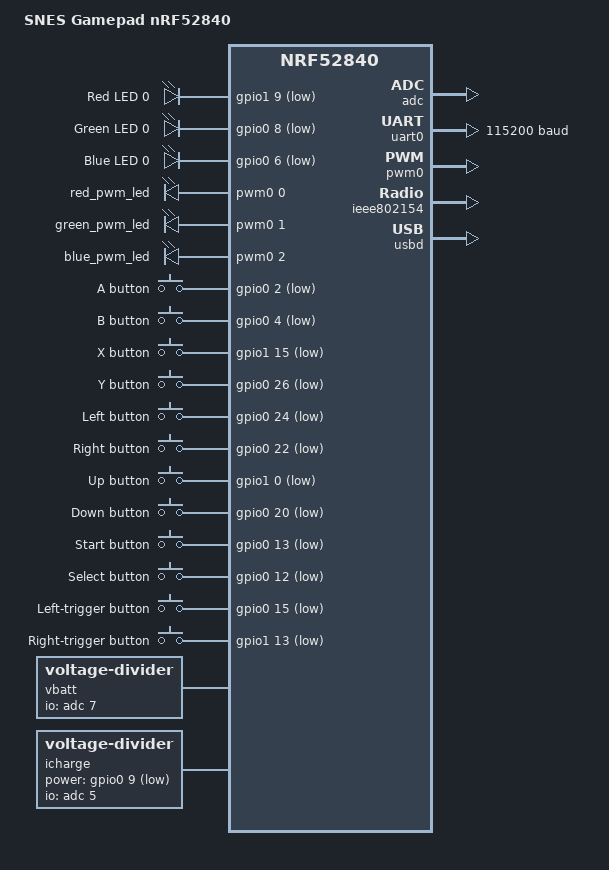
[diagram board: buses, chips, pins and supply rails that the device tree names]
/*
 * Copyright (c) 2022 Nikola Trifunovic
 * Copyright (c) 2018 Nordic Semiconductor ASA
 * Copyright (c) 2017 Linaro Limited
 *
 * SPDX-License-Identifier: Apache-2.0
 */

/dts-v1/;
#include <nordic/nrf52840_qiaa.dtsi>
#include "snes_gamepad_nrf52840-pinctrl.dtsi"
#include <zephyr/dt-bindings/input/input-event-codes.h>

/ {
	model = "SNES Gamepad nRF52840";
	compatible = "snes_gamepad_nrf52840";

	chosen {
		zephyr,console = &uart0;
		zephyr,shell-uart = &uart0;
		zephyr,uart-mcumgr = &uart0;
		zephyr,bt-mon-uart = &uart0;
		zephyr,bt-c2h-uart = &uart0;
		zephyr,sram = &sram0;
		zephyr,flash = &flash0;
		zephyr,code-partition = &slot0_partition;
		zephyr,ieee802154 = &ieee802154;
	};

	rtt0: rtt_chan0 {
		compatible = "segger,rtt-uart";
		status = "okay";
	};

	leds {
		compatible = "gpio-leds";
		led0_red: led_0 {
			gpios = <&gpio1 9 GPIO_ACTIVE_LOW>;
			label = "Red LED 0";
		};
		led0_green: led_1 {
			gpios = <&gpio0 8 GPIO_ACTIVE_LOW>;
			label = "Green LED 0";
		};
		led0_blue: led_2 {
			gpios = <&gpio0 6 GPIO_ACTIVE_LOW>;
			label = "Blue LED 0";
		};
	};

	pwmleds {
		compatible = "pwm-leds";
		red_pwm_led: pwm_led_0 {
			pwms = <&pwm0 0 PWM_MSEC(20) PWM_POLARITY_INVERTED>;
		};
		green_pwm_led: pwm_led_1 {
			pwms = <&pwm0 1 PWM_MSEC(20) PWM_POLARITY_INVERTED>;
		};
		blue_pwm_led: pwm_led_2 {
			pwms = <&pwm0 2 PWM_MSEC(20) PWM_POLARITY_INVERTED>;
		};
	};

	buttons {
		compatible = "gpio-keys";
		a_button: button_a {
			gpios = <&gpio0 2 (GPIO_PULL_UP | GPIO_ACTIVE_LOW)>;
			label = "A button";
			zephyr,code = <INPUT_KEY_A>;
		};
		b_button: button_b {
			gpios = <&gpio0 4 (GPIO_PULL_UP | GPIO_ACTIVE_LOW)>;
			label = "B button";
			zephyr,code = <INPUT_KEY_B>;
		};
		x_button: button_x {
			gpios = <&gpio1 15 (GPIO_PULL_UP | GPIO_ACTIVE_LOW)>;
			label = "X button";
			zephyr,code = <INPUT_KEY_X>;
		};
		y_button: button_y {
			gpios = <&gpio0 26 (GPIO_PULL_UP | GPIO_ACTIVE_LOW)>;
			label = "Y button";
			zephyr,code = <INPUT_KEY_Y>;
		};
		left_button: button_left {
			gpios = <&gpio0 24 (GPIO_PULL_UP | GPIO_ACTIVE_LOW)>;
			label = "Left button";
			zephyr,code = <INPUT_KEY_LEFT>;
		};
		right_button: button_right {
			gpios = <&gpio0 22 (GPIO_PULL_UP | GPIO_ACTIVE_LOW)>;
			label = "Right button";
			zephyr,code = <INPUT_KEY_RIGHT>;
		};
		up_button: button_up {
			gpios = <&gpio1 0 (GPIO_PULL_UP | GPIO_ACTIVE_LOW)>;
			label = "Up button";
			zephyr,code = <INPUT_KEY_UP>;
		};
		down_button: button_down {
			gpios = <&gpio0 20 (GPIO_PULL_UP | GPIO_ACTIVE_LOW)>;
			label = "Down button";
			zephyr,code = <INPUT_KEY_DOWN>;
		};
		start_button: button_start {
			gpios = <&gpio0 13 (GPIO_PULL_UP | GPIO_ACTIVE_LOW)>;
			label = "Start button";
			zephyr,code = <INPUT_KEY_0>;
		};
		select_button: button_select {
			gpios = <&gpio0 12 (GPIO_PULL_UP | GPIO_ACTIVE_LOW)>;
			label = "Select button";
			zephyr,code = <INPUT_KEY_1>;
		};
		lt_button: button_lt {
			gpios = <&gpio0 15 (GPIO_PULL_UP | GPIO_ACTIVE_LOW)>;
			label = "Left-trigger button";
			zephyr,code = <INPUT_KEY_2>;
		};
		rt_button: button_rt {
			gpios = <&gpio1 13 (GPIO_PULL_UP | GPIO_ACTIVE_LOW)>;
			label = "Right-trigger button";
			zephyr,code = <INPUT_KEY_3>;
		};
	};

	vbatt {
		compatible = "voltage-divider";
		io-channels = <&adc 7>;
		output-ohms = <10000000>;
		full-ohms = <(3900000 + 10000000)>;
	};

	/* I = (V / R) * 400 */
	icharge {
		compatible = "voltage-divider";
		io-channels = <&adc 5>;
		output-ohms = <1800>;
		full-ohms = <1800>;
		power-gpios = <&gpio0 9 (GPIO_PULL_UP | GPIO_ACTIVE_LOW)>;
	};

	/* These aliases are provided for compatibility with samples */
	aliases {

		sw0 = &start_button;
		led0 = &led0_red;
		led1 = &led0_green;
		led2 = &led0_blue;

		led0-red   = &led0_red;
		led0-green = &led0_green;
		led0-blue  = &led0_blue;

		pwm-led0 = &red_pwm_led;
		pwm-led1 = &green_pwm_led;
		pwm-led2 = &blue_pwm_led;

		red-pwm-led = &red_pwm_led;
		green-pwm-led = &green_pwm_led;
		blue-pwm-led = &blue_pwm_led;

		watchdog0 = &wdt0;
	};
};

&gpiote {
	status = "okay";
};

&uicr {
	nfct-pins-as-gpios;
	gpio-as-nreset;
};

&gpio0 {
	status = "okay";
	// https://devzone.nordicsemi.com/f/nordic-q-a/88382/how-to-use-sense-edge-mask
	sense-edge-mask = <0xffffffff>;
};

&gpio1 {
	status = "okay";
	sense-edge-mask = <0xffffffff>;
};

&adc {
	status = "okay";
};

&uart0 {
	compatible = "nordic,nrf-uarte";
	status = "okay";
	current-speed = <115200>;
	pinctrl-0 = <&uart0_default>;
	pinctrl-1 = <&uart0_sleep>;
	pinctrl-names = "default", "sleep";
};

&pwm0 {
	status = "okay";
	pinctrl-0 = <&pwm0_default>;
	pinctrl-1 = <&pwm0_sleep>;
	pinctrl-names = "default", "sleep";
};
&ieee802154 {
	status = "okay";
};

/* Include flash partition table.
 * Two partition tables are available:
 * fstab-stock        -compatible with Nordic nRF5 bootloader, default
 * fstab-debugger    -to use an external debugger, w/o the nRF5 bootloader
 */
#include "fstab-stock.dtsi"
// #include "fstab-uf2.dtsi"

zephyr_udc0: &usbd {
	compatible = "nordic,nrf-usbd";
	status = "okay";

	cdc_acm_uart0: cdc_acm_uart0 {
		compatible = "zephyr,cdc-acm-uart";
	};
};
